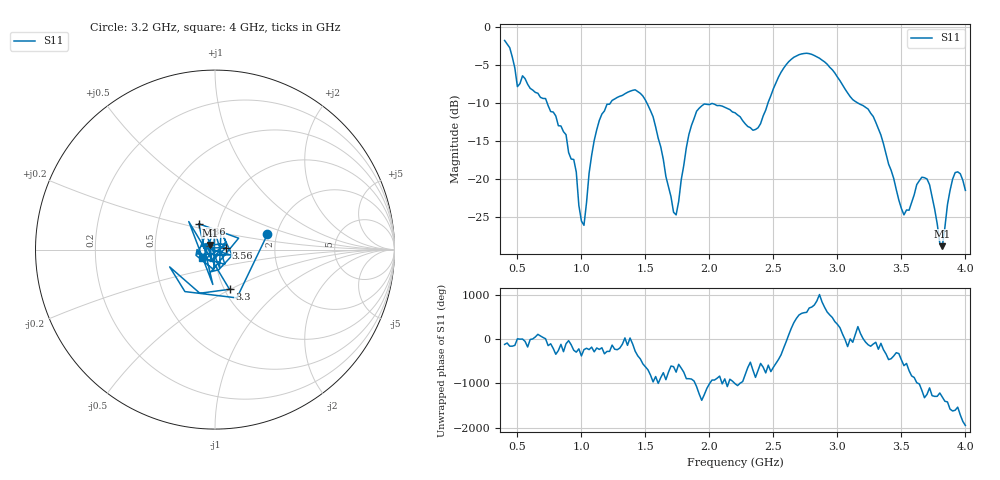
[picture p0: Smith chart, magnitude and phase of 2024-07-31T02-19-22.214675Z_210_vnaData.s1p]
!Created with skrf (http://scikit-rf.org).
# Hz S RI R 50.0
!freq ReS11 ImS11
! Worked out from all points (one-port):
!   181 points, 400 MHz to 4 GHz, reference 50 ohm
!   lowest |S11| = -28.8 dB at 3.82 GHz (marker M1), VSWR 1.08, Z = 47.5 + j2.5 ohm
!   |S11| at or under -10 dB: 732.2 MHz to 1.227 GHz (495 MHz wide, 50.5 % of centre); 1.511 GHz to 2.458 GHz (947.3 MHz wide, 47.7 % of centre); 3.158 GHz to end of sweep
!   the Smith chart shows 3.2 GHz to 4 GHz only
!   S11 on the Smith chart (normalised r, x): 3.2 GHz: 1.78, +0.33; 3.3 GHz: 1.06, -0.50; 3.36 GHz: 0.80, +0.24; 3.56 GHz: 1.13, +0.02; 4 GHz: 0.86, -0.08
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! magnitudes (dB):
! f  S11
! 400 MHz  -1.8
! 500 MHz  -7.9
! 540 MHz  -6.5
! 860 MHz  -13.8
! 940 MHz  -17.4
! 1.02 GHz  -26.0
! 1.12 GHz  -13.5
! 1.3 GHz  -9.1
! 1.5 GHz  -9.6
! 1.62 GHz  -15.8
! 1.72 GHz  -24.3
! 1.76 GHz  -22.9
! 1.84 GHz  -14.1
! 1.9 GHz  -11.1
! 2.2 GHz  -11.3
! 2.38 GHz  -13.3
! 2.66 GHz  -4.0
! 2.86 GHz  -4.2
! 3.1 GHz  -9.2
! 3.2 GHz  -10.4
! 3.3 GHz  -12.6
! 3.36 GHz  -15.4
! 3.5 GHz  -23.8
! 3.56 GHz  -24.1
! 3.7 GHz  -20.0
! 3.82 GHz  -28.8
! 3.92 GHz  -19.1
! 4 GHz  -21.5
